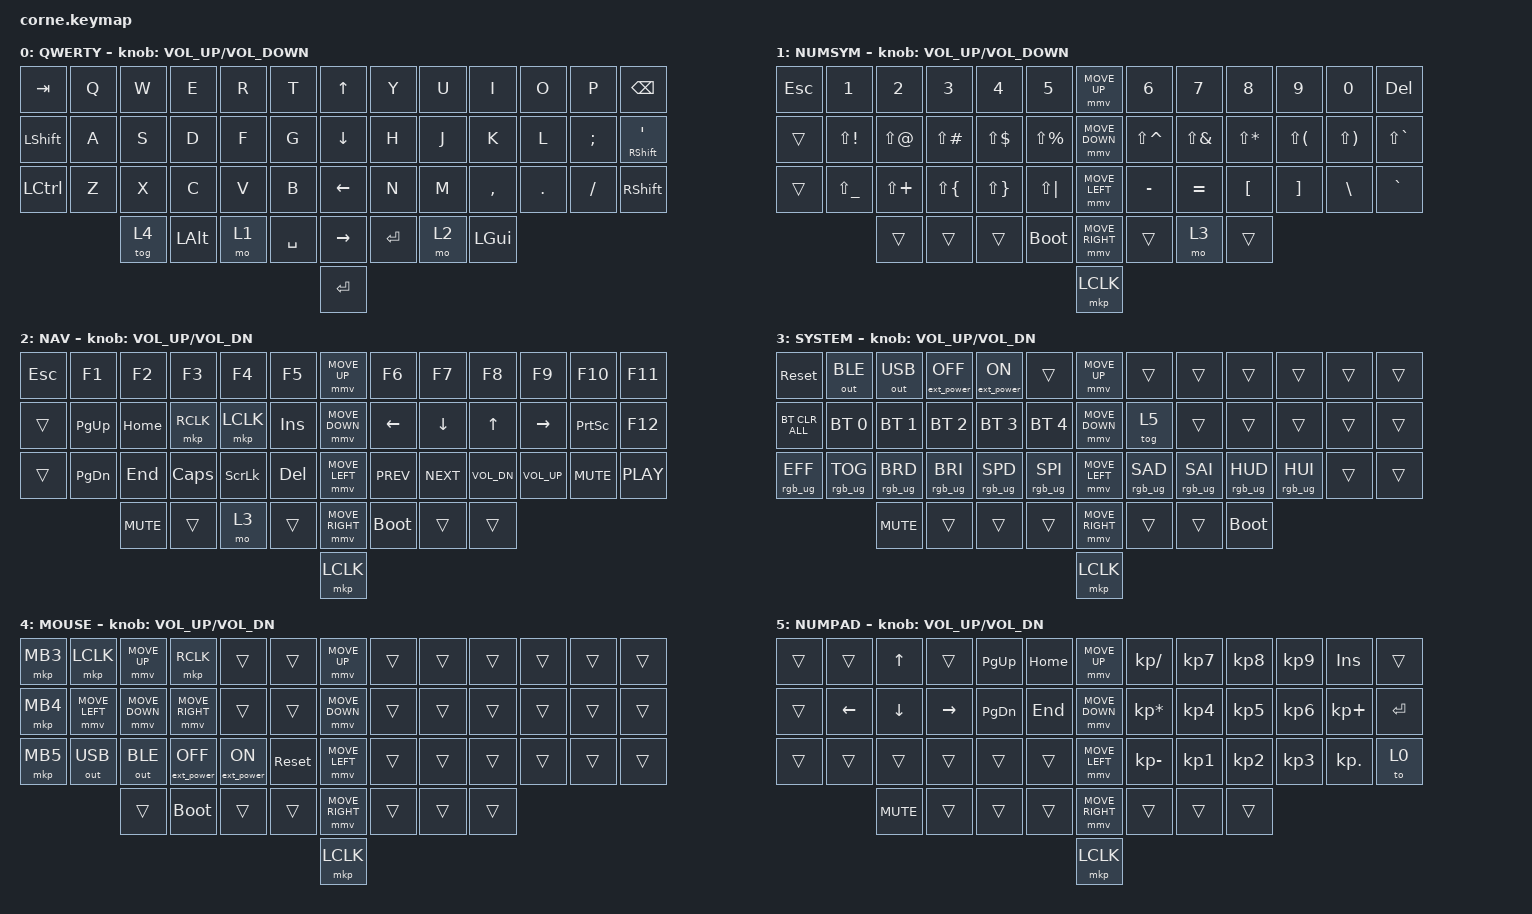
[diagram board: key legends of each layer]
#include <behaviors/mouse_keys.dtsi>
#include <dt-bindings/zmk/mouse.h>
#include <behaviors.dtsi>
#include <dt-bindings/zmk/bt.h>
#include <dt-bindings/zmk/ext_power.h>
#include <dt-bindings/zmk/keys.h>
#include <dt-bindings/zmk/outputs.h>
#include <dt-bindings/zmk/pointing.h>
#include <dt-bindings/zmk/rgb.h>

#define ZMK_MOUSE_DEFAULT_MOVE_VAL 1200  // 600
#define ZMK_MOUSE_DEFAULT_SCRL_VAL 20    // 10
#define U_MS_U &mmv MOVE_UP
#define U_MS_D &mmv MOVE_DOWN
#define U_MS_L &mmv MOVE_LEFT
#define U_MS_R &mmv MOVE_RIGHT

/ {
    behaviors {
        td0: td0 {
            compatible = "zmk,behavior-tap-dance";
            label = "TD0";
            #binding-cells = <0>;
            bindings = <&kp LEFT_SHIFT>, <&kp CAPS>;
        };

        esc_tab: esc_tab {
            compatible = "zmk,behavior-mod-morph";
            label = "ESC_TAB";
            bindings = <&kp ESCAPE>, <&kp TAB>;

            #binding-cells = <0>;
            mods = <(MOD_LGUI|MOD_LALT|MOD_RALT|MOD_RGUI)>;
            keep-mods = <(MOD_LGUI|MOD_LALT|MOD_RALT|MOD_RGUI)>;
        };

        layer_hold: layer_hold {
            compatible = "zmk,behavior-hold-tap";
            label = "LAYER_HOLD";
            bindings = <&kp>, <&to>;

            #binding-cells = <2>;
            tapping-term-ms = <200>;
        };

        key_hold: key_hold {
            compatible = "zmk,behavior-hold-tap";
            label = "KEY_HOLD";
            bindings = <&kp>, <&kp>;

            #binding-cells = <2>;
            tapping-term-ms = <200>;
        };

        mmv {
            acceleration-exponent = <1>;      // 1
            time-to-max-speed-ms = <900>;    // 40
            delay-ms = <0>;                   // 0
        };

        msc {
            acceleration-exponent = <1>;      // 0
            time-to-max-speed-ms = <400>;      // 500
            delay-ms = <0>;                   // 10
        };
    };

    rgb_encoder: rgb_encoder {
        compatible = "zmk,behavior-sensor-rotate";
        label = "RGB_ENCODER";
        #sensor-binding-cells = <0>;
        bindings = <&rgb_ug RGB_BRI>, <&rgb_ug RGB_BRD>;
    };

    scroll_encoder: scroll_encoder {
        compatible = "zmk,behavior-sensor-rotate";
        #sensor-binding-cells = <0>;
        bindings = <&msc SCRL_DOWN>, <&msc SCRL_UP>;

        tap-ms = <30>;
    };

    keymap {
        compatible = "zmk,keymap";

        Qwerty {
            display-name = "QWERTY";

            // --------------------------------------------------------------------------------
            // |  TAB |  Q  |  W  |  E  |  R  |  T  |                ↑    |  Y  |  U   |  I  |  O  |  P  | BKSP |      &kp UP_ARROW 
            // | SHIFT |  A  |  S  |  D  |  F  |  G  |               ↓    |  H  |  J   |  K  |  L  |  ;  |  '   | 
            // | CTRL |  Z  |  X  |  C  |  V  |  B  |                ←    |  N  |  M   |  ,  |  .  |  /  | ESC  |
            //                    | GUI | LWR | SPC |                →    | ENT | RSE  | ALT |
            //                                                      enter

            bindings = <
&kp TAB         &kp Q  &kp W   &kp E         &kp R  &kp T        &kp UP_ARROW     &kp Y      &kp U  &kp I         &kp O    &kp P     &kp BACKSPACE
&kp LEFT_SHIFT  &kp A  &kp S   &kp D         &kp F  &kp G        &kp DOWN_ARROW   &kp H      &kp J  &kp K         &kp L    &kp SEMI  &key_hold RIGHT_SHIFT SQT
&kp LCTRL       &kp Z  &kp X   &kp C         &kp V  &kp B        &kp LEFT_ARROW   &kp N      &kp M  &kp COMMA     &kp DOT  &kp FSLH  &kp RIGHT_SHIFT
                       &tog 4  &kp LEFT_ALT  &mo 1  &kp SPACE    &kp RIGHT_ARROW  &kp ENTER  &mo 2  &kp LEFT_GUI
                                                                 &kp ENTER
            >;

            label = "QWERTY";
            sensor-bindings = <&inc_dec_kp C_VOLUME_UP C_VOLUME_DOWN>;
        };

        NUMSYM {
            display-name = "NUMSYM";

            // -----------------------------------------------------------------------------------------
            // |  TAB |  !  |  @  |  #  |  $  |  %  |   |  ^  |  &  |  *  |  (  |  )  | BKSP |
            // | CTRL |     |     |     |     |     |   |  -  |  =  |  [  |  ]  |  \  |  `   |
            // | SHFT |     |     |     |     |     |   |  _  |  +  |  {  |  }  | "|" |  ~   |
            //                    | GUI |     | SPC |   | ENT |     | ALT |

            bindings = <
&kp ESCAPE  &kp N1         &kp N2        &kp N3         &kp N4        &kp N5           &mmv MOVE_UP     &kp N6         &kp N7        &kp N8        &kp N9        &kp N0        &kp DEL
&trans      &kp LS(EXCL)   &kp LS(AT)    &kp LS(POUND)  &kp LS(DLLR)  &kp LS(PRCNT)    &mmv MOVE_DOWN   &kp LS(CARET)  &kp LS(AMPS)  &kp LS(STAR)  &kp LS(LPAR)  &kp LS(RPAR)  &kp LS(GRAVE)
&trans      &kp LS(UNDER)  &kp LS(PLUS)  &kp LS(LBRC)   &kp LS(RBRC)  &kp LS(PIPE)     &mmv MOVE_LEFT   &kp MINUS      &kp EQUAL     &kp LBKT      &kp RBKT      &kp BSLH      &kp GRAVE
                           &trans        &trans         &trans        &bootloader      &mmv MOVE_RIGHT  &trans         &mo 3         &trans
                                                                                       &mkp LCLK
            >;

            label = "NUMSYM";
            sensor-bindings = <&inc_dec_kp C_VOL_UP C_VOLUME_DOWN>;
        };

        NAV {
            display-name = "NAV";

            // -----------------------------------------------------------------------------------------
            // |  TAB |  1  |  2  |  3  |  4  |  5  |   |  6  |  7  |  8  |  9  |  0  | BKSP |
            // | BTCLR| BT1 | BT2 | BT3 | BT4 | BT5 |   | LFT | DWN |  UP | RGT |     |      |
            // | SHFT |     |     |     |     |     |   |     |     |     |     |     |      |
            //                    | GUI |     | SPC |   | ENT |     | ALT |

            bindings = <
&kp ESCAPE  &kp F1         &kp F2      &kp F3     &kp F4          &kp F5        &mmv MOVE_UP     &kp F6       &kp F7      &kp F8        &kp F9        &kp F10          &kp F11
&trans      &kp PAGE_UP    &kp HOME    &mkp RCLK  &mkp LCLK       &kp INSERT    &mmv MOVE_DOWN   &kp LEFT     &kp DOWN    &kp UP_ARROW  &kp RIGHT     &kp PRINTSCREEN  &kp F12
&trans      &kp PAGE_DOWN  &kp END     &kp CLCK   &kp SCROLLLOCK  &kp DELETE    &mmv MOVE_LEFT   &kp C_PREV   &kp C_NEXT  &kp C_VOL_DN  &kp C_VOL_UP  &kp C_MUTE       &kp C_PLAY
                           &kp C_MUTE  &trans     &mo 3           &trans        &mmv MOVE_RIGHT  &bootloader  &trans      &trans
                                                                                &mkp LCLK
            >;

            label = "NAV";
            sensor-bindings = <&inc_dec_kp C_VOL_UP C_VOL_DN>;
        };

        SYSTEM {
            display-name = "SYSTEM";
            bindings = <
&sys_reset       &out OUT_BLE     &out OUT_USB     &ext_power EP_OFF  &ext_power EP_ON  &trans             &mmv MOVE_UP     &trans           &trans           &trans           &trans           &trans  &trans
&bt BT_CLR_ALL   &bt BT_SEL 0     &bt BT_SEL 1     &bt BT_SEL 2       &bt BT_SEL 3      &bt BT_SEL 4       &mmv MOVE_DOWN   &tog 5           &trans           &trans           &trans           &trans  &trans
&rgb_ug RGB_EFF  &rgb_ug RGB_TOG  &rgb_ug RGB_BRD  &rgb_ug RGB_BRI    &rgb_ug RGB_SPD   &rgb_ug RGB_SPI    &mmv MOVE_LEFT   &rgb_ug RGB_SAD  &rgb_ug RGB_SAI  &rgb_ug RGB_HUD  &rgb_ug RGB_HUI  &trans  &trans
                                  &kp C_MUTE       &trans             &trans            &trans             &mmv MOVE_RIGHT  &trans           &trans           &bootloader
                                                                                                           &mkp LCLK
            >;

            label = "SYSTEM";
            sensor-bindings = <&inc_dec_kp C_VOL_UP C_VOL_DN>;
        };

        Mouse {
            bindings = <
&mkp MB3  &mkp LCLK       &mmv MOVE_UP    &mkp RCLK          &trans            &trans        &mmv MOVE_UP     &trans  &trans  &trans  &trans  &trans  &trans
&mkp MB4  &mmv MOVE_LEFT  &mmv MOVE_DOWN  &mmv MOVE_RIGHT    &trans            &trans        &mmv MOVE_DOWN   &trans  &trans  &trans  &trans  &trans  &trans
&mkp MB5  &out OUT_USB    &out OUT_BLE    &ext_power EP_OFF  &ext_power EP_ON  &sys_reset    &mmv MOVE_LEFT   &trans  &trans  &trans  &trans  &trans  &trans
                          &trans          &bootloader        &trans            &trans        &mmv MOVE_RIGHT  &trans  &trans  &trans
                                                                                             &mkp LCLK
            >;

            sensor-bindings = <&inc_dec_kp C_VOL_UP C_VOL_DN>;
            label = "MOUSE";
        };

        Numpad {
            bindings = <
&trans  &trans    &kp UP_ARROW  &trans     &kp PAGE_UP    &kp HOME    &mmv MOVE_UP     &kp KP_DIVIDE    &kp KP_NUMBER_7  &kp KP_NUMBER_8  &kp KP_NUMBER_9  &kp INSERT   &trans
&trans  &kp LEFT  &kp DOWN      &kp RIGHT  &kp PAGE_DOWN  &kp END     &mmv MOVE_DOWN   &kp KP_MULTIPLY  &kp KP_NUMBER_4  &kp KP_NUMBER_5  &kp KP_NUMBER_6  &kp KP_PLUS  &kp ENTER
&trans  &trans    &trans        &trans     &trans         &trans      &mmv MOVE_LEFT   &kp KP_SUBTRACT  &kp KP_NUMBER_1  &kp KP_NUMBER_2  &kp KP_NUMBER_3  &kp KP_DOT   &to 0
                  &kp C_MUTE    &trans     &trans         &trans      &mmv MOVE_RIGHT  &trans           &trans           &trans
                                                                      &mkp LCLK
            >;

            sensor-bindings = <&inc_dec_kp C_VOL_UP C_VOL_DN>;
            label = "NUMPAD";
        };
    };
};
